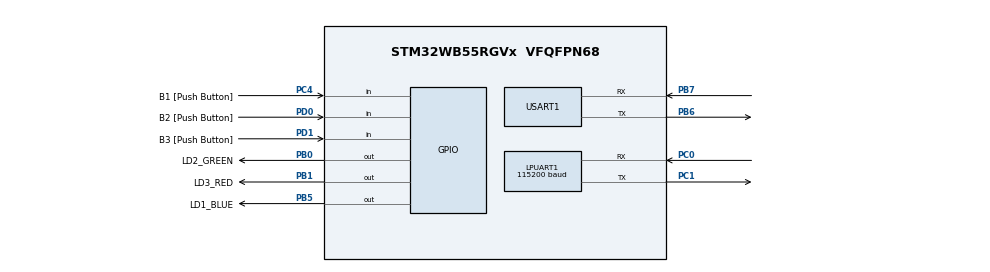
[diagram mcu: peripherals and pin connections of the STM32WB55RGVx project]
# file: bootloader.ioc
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Dma.MEMTOMEM.1.Direction=DMA_MEMORY_TO_MEMORY
Dma.MEMTOMEM.1.EventEnable=DISABLE
Dma.MEMTOMEM.1.Instance=DMA1_Channel2
Dma.MEMTOMEM.1.MemDataAlignment=DMA_MDATAALIGN_BYTE
Dma.MEMTOMEM.1.MemInc=DMA_MINC_ENABLE
Dma.MEMTOMEM.1.Mode=DMA_NORMAL
Dma.MEMTOMEM.1.PeriphDataAlignment=DMA_PDATAALIGN_BYTE
Dma.MEMTOMEM.1.PeriphInc=DMA_PINC_ENABLE
Dma.MEMTOMEM.1.Polarity=HAL_DMAMUX_REQ_GEN_RISING
Dma.MEMTOMEM.1.Priority=DMA_PRIORITY_HIGH
Dma.MEMTOMEM.1.RequestNumber=1
Dma.MEMTOMEM.1.SignalID=NONE
Dma.MEMTOMEM.1.SyncEnable=DISABLE
Dma.MEMTOMEM.1.SyncPolarity=HAL_DMAMUX_SYNC_NO_EVENT
Dma.MEMTOMEM.1.SyncRequestNumber=1
Dma.MEMTOMEM.1.SyncSignalID=NONE
Dma.Request0=USART1_RX
Dma.Request1=MEMTOMEM
Dma.USART1_RX.0.Direction=DMA_PERIPH_TO_MEMORY
Dma.USART1_RX.0.EventEnable=DISABLE
Dma.USART1_RX.0.Instance=DMA1_Channel1
Dma.USART1_RX.0.MemDataAlignment=DMA_MDATAALIGN_BYTE
Dma.USART1_RX.0.MemInc=DMA_MINC_ENABLE
Dma.USART1_RX.0.Mode=DMA_CIRCULAR
Dma.USART1_RX.0.PeriphDataAlignment=DMA_PDATAALIGN_BYTE
Dma.USART1_RX.0.PeriphInc=DMA_PINC_DISABLE
Dma.USART1_RX.0.Polarity=HAL_DMAMUX_REQ_GEN_RISING
Dma.USART1_RX.0.Priority=DMA_PRIORITY_LOW
Dma.USART1_RX.0.RequestNumber=1
Dma.USART1_RX.0.SignalID=NONE
Dma.USART1_RX.0.SyncEnable=DISABLE
Dma.USART1_RX.0.SyncPolarity=HAL_DMAMUX_SYNC_NO_EVENT
Dma.USART1_RX.0.SyncRequestNumber=1
Dma.USART1_RX.0.SyncSignalID=NONE
LPUART1.BaudRate=115200
LPUART1.FIFOMode=UART_FIFOMODE_DISABLE
LPUART1.RXFIFOThreshold=UART_RXFIFO_THRESHOLD_8_8
LPUART1.TXFIFOThreshold=UART_TXFIFO_THRESHOLD_8_8
Mcu.Family=STM32WB
Mcu.Name=STM32WB55RGVx
Mcu.Package=VFQFPN68
NVIC.DMA1_Channel1_IRQn=true\:0\:0\:false\:false\:true\:false\:true\:true
NVIC.DMA1_Channel2_IRQn=true\:0\:0\:false\:false\:true\:true\:true\:true
NVIC.LPUART1_IRQn=true\:0\:0\:false\:false\:true\:true\:true\:true
NVIC.PriorityGroup=NVIC_PRIORITYGROUP_4
NVIC.USART1_IRQn=true\:0\:0\:false\:false\:true\:true\:true\:true
OSC_IN.Mode=HSE-External-Oscillator
OSC_IN.Signal=RCC_OSC_IN
OSC_OUT.Mode=HSE-External-Oscillator
OSC_OUT.Signal=RCC_OSC_OUT
PA13.GPIO_Label=JTMS
PA13.Mode=Trace_Asynchronous_SW
PA13.Signal=SYS_JTMS-SWDIO
PA14.GPIO_Label=JTCK
PA14.Mode=Trace_Asynchronous_SW
PA14.Signal=SYS_JTCK-SWCLK
PB0.GPIO_Label=LD2_GREEN
PB0.Signal=GPIO_Output
PB1.GPIO_Label=LD3_RED
PB1.Signal=GPIO_Output
PB3.GPIO_Label=JTDO
PB3.Mode=Trace_Asynchronous_SW
PB3.Signal=SYS_JTDO-SWO
PB5.GPIO_Label=LD1_BLUE
PB5.Signal=GPIO_Output
PB6.Mode=Asynchronous
PB6.Signal=USART1_TX
PB7.Mode=Asynchronous
PB7.Signal=USART1_RX
PC0.Mode=Asynchronous
PC0.Signal=LPUART1_RX
PC1.Mode=Asynchronous
PC1.Signal=LPUART1_TX
PC13.Mode=SYS_WakeUp1
PC13.Signal=SYS_WKUP2
PC14-OSC32_IN.Mode=LSE-External-Oscillator
PC14-OSC32_IN.Signal=RCC_OSC32_IN
PC15-OSC32_OUT.Mode=LSE-External-Oscillator
PC15-OSC32_OUT.Signal=RCC_OSC32_OUT
PC4.GPIO_Label=B1 [Push Button]
PC4.GPIO_PuPd=GPIO_PULLUP
PC4.Signal=GPIO_Input
PD0.GPIO_Label=B2 [Push Button]
PD0.Signal=GPIO_Input
PD1.GPIO_Label=B3 [Push Button]
PD1.GPIO_PuPd=GPIO_PULLUP
PD1.Signal=GPIO_Input
ProjectManager.HeapSize=0x200
ProjectManager.StackSize=0x400
ProjectManager.TargetToolchain=STM32CubeIDE
RCC.ADCFreq_Value=48000000
RCC.AHB2CLKDivider=RCC_SYSCLK_DIV2
RCC.AHBFreq_Value=64000000
RCC.APB1Freq_Value=64000000
RCC.APB1TimFreq_Value=64000000
RCC.APB2Freq_Value=64000000
RCC.APB2TimFreq_Value=64000000
RCC.APB3Freq_Value=16000000
RCC.CortexFreq_Value=64000000
RCC.HCLKFreq_Value=64000000
RCC.HSE_VALUE=32000000
RCC.HSI48_VALUE=48000000
RCC.HSI_VALUE=16000000
RCC.PLLN=32
RCC.PLLSAI1N=24
RCC.SMPSCLockSelectionVirtual=RCC_SMPSCLKSOURCE_HSI
RCC.SMPSCLockSelectionVirtualVirtual=RCC_SMPSCLKSOURCE_HSI
RCC.SMPSDivider=1
RCC.SYSCLKFreq_VALUE=64000000
RCC.SYSCLKSource=RCC_SYSCLKSOURCE_PLLCLK
RCC.USBFreq_Value=48000000
RCC.VCOOutputFreq_Value=128000000
USART1.FIFOMode=FIFOMODE_DISABLE
USART1.RXFIFOThreshold=RXFIFO_THRESHOLD_FULL
USART1.TXFIFOThreshold=TXFIFO_THRESHOLD_EMPTY
USART1.VirtualMode-Asynchronous=VM_ASYNC
VP_MEMORYMAP_VS_MEMORYMAP.Mode=CurAppReg
board=NUCLEO-WB55RG

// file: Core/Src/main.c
/* USER CODE BEGIN Header */
/**
  ******************************************************************************
  * @file           : main.c
  * @brief          : Main program body
  ******************************************************************************
  * @attention
  *
  * Copyright (c) 2024 STMicroelectronics.
  * All rights reserved.
  *
  * This software is licensed under terms that can be found in the LICENSE file
  * in the root directory of this software component.
  * If no LICENSE file comes with this software, it is provided AS-IS.
  *
  ******************************************************************************
  */
/* USER CODE END Header */
#include "main.h"
#include "dma.h"
#include "usart.h"
#include "memorymap.h"
#include "gpio.h"

/* USER CODE BEGIN Includes */
#include "stdio.h"
#include "etx_ota_update.h"
#include <stdbool.h>
/* USER CODE END Includes */

/* USER CODE BEGIN PD */
extern DMA_HandleTypeDef hdma_usart1_rx;
extern DMA_HandleTypeDef hdma_memtomem_dma1_channel2;
/* USER CODE END PD */

/* USER CODE BEGIN PV */
extern uint8_t Rx_Buffer[ETX_OTA_CHUNK_MAX_SIZE];
extern uint8_t temp_Buffer[2*ETX_OTA_CHUNK_MAX_SIZE];
/* USER CODE END PV */

void SystemClock_Config(void);
void PeriphCommonClock_Config(void);
/* USER CODE BEGIN PFP */
static void go_to_application(void);

/* USER CODE END PFP */

/* USER CODE BEGIN 0 */
#ifdef __GNUC__
int __io_putchar(int ch)
#else
int fputc(int ch,FILE *f)
#endif
{
	HAL_UART_Transmit(&hlpuart1,(uint8_t*)&ch,1,100);
	return ch;
}

static void go_to_application(void){

	printf("Starting the application ...\n");

	void (*app_reset_handler)(void) = (void*) (*(volatile uint32_t*)(0x08040000 + 4));

	HAL_GPIO_WritePin(LD2_GREEN_GPIO_Port,LD2_GREEN_Pin,GPIO_PIN_RESET);

	app_reset_handler(); //call the app reset handler
}

bool is_flash_empty(uint32_t start_addr,uint32_t end_addr)
{
	uint32_t  Address = start_addr,
			   data32 = 0xFFFF;
	while (Address < end_addr)
	{
	    data32 = *(__IO uint32_t *)Address;

	    if (data32 != 0xFFFF)
	    {
	      return false;
	    }
	    Address += 4;
	}
	return true;
}
/* USER CODE END 0 */

int main(void)
{
  /* USER CODE BEGIN 1 */
  GPIO_PinState OTA_Pin_state = GPIO_PIN_SET;
  GPIO_PinState launch_App_Pin_state = GPIO_PIN_SET;
  _Bool Is_flash_empty = true;
  /* USER CODE END 1 */

  /* MCU Configuration--------------------------------------------------------*/

  /* Reset of all peripherals, Initializes the Flash interface and the Systick. */
  HAL_Init();

  /* Configure the system clock */
  SystemClock_Config();

/* Configure the peripherals common clocks */
  PeriphCommonClock_Config();

  /* Initialize all configured peripherals */
  MX_GPIO_Init();
  MX_DMA_Init();
  MX_USART1_UART_Init();
  MX_LPUART1_UART_Init();
  /* USER CODE BEGIN 2 */
  printf("Bootloader start success\n");

  if( (Is_flash_empty = is_flash_empty(FLASH_USER_START_ADDR,FLASH_USER_END_ADDR) ) == false)
  {
	  printf("App found on memmory.\n"
			  "Please, press SW1 to start an OTA update or SW3 to run the app...\n");
  }
  else
  {
	  printf("App not found. Please, press SW1 to start an OTA update...\n");
  }

  do
    {
	  OTA_Pin_state = HAL_GPIO_ReadPin(B1_GPIO_Port,B1_Pin);
	  launch_App_Pin_state = HAL_GPIO_ReadPin(B3_GPIO_Port,B3_Pin);
      if(OTA_Pin_state == GPIO_PIN_RESET  || launch_App_Pin_state == GPIO_PIN_RESET )
      {
        break;
      }
   }while(1);

  if(OTA_Pin_state == GPIO_PIN_RESET)
  {
	  printf("Starting Firmware Download...\r\n");
	  if( etx_ota_download_and_flash() != ETX_OTA_EX_OK )
	  {
		printf("OTA Update error. Halting...\r\n");
		while(1);
	  }
	  else
	  {
		printf("Firmware update success!\r\n");
		go_to_application();
	  }
  }
  else if(launch_App_Pin_state == GPIO_PIN_RESET && Is_flash_empty == false)
  {
	  go_to_application();
  }
  /* USER CODE END 2 */

  /* Infinite loop */
  while (1)
  {

  }
}

void SystemClock_Config(void)
{
  RCC_OscInitTypeDef RCC_OscInitStruct = {0};
  RCC_ClkInitTypeDef RCC_ClkInitStruct = {0};

  /** Configure the main internal regulator output voltage
  */
  __HAL_PWR_VOLTAGESCALING_CONFIG(PWR_REGULATOR_VOLTAGE_SCALE1);

  /** Initializes the RCC Oscillators according to the specified parameters
  * in the RCC_OscInitTypeDef structure.
  */
  RCC_OscInitStruct.OscillatorType = RCC_OSCILLATORTYPE_HSI|RCC_OSCILLATORTYPE_HSE
                              |RCC_OSCILLATORTYPE_MSI;
  RCC_OscInitStruct.HSEState = RCC_HSE_ON;
  RCC_OscInitStruct.HSIState = RCC_HSI_ON;
  RCC_OscInitStruct.MSIState = RCC_MSI_ON;
  RCC_OscInitStruct.HSICalibrationValue = RCC_HSICALIBRATION_DEFAULT;
  RCC_OscInitStruct.MSICalibrationValue = RCC_MSICALIBRATION_DEFAULT;
  RCC_OscInitStruct.MSIClockRange = RCC_MSIRANGE_6;
  RCC_OscInitStruct.PLL.PLLState = RCC_PLL_ON;
  RCC_OscInitStruct.PLL.PLLSource = RCC_PLLSOURCE_MSI;
  RCC_OscInitStruct.PLL.PLLM = RCC_PLLM_DIV1;
  RCC_OscInitStruct.PLL.PLLN = 32;
  RCC_OscInitStruct.PLL.PLLP = RCC_PLLP_DIV2;
  RCC_OscInitStruct.PLL.PLLR = RCC_PLLR_DIV2;
  RCC_OscInitStruct.PLL.PLLQ = RCC_PLLQ_DIV2;
  if (HAL_RCC_OscConfig(&RCC_OscInitStruct) != HAL_OK)
  {
    Error_Handler();
  }

  /** Configure the SYSCLKSource, HCLK, PCLK1 and PCLK2 clocks dividers
  */
  RCC_ClkInitStruct.ClockType = RCC_CLOCKTYPE_HCLK4|RCC_CLOCKTYPE_HCLK2
                              |RCC_CLOCKTYPE_HCLK|RCC_CLOCKTYPE_SYSCLK
                              |RCC_CLOCKTYPE_PCLK1|RCC_CLOCKTYPE_PCLK2;
  RCC_ClkInitStruct.SYSCLKSource = RCC_SYSCLKSOURCE_PLLCLK;
  RCC_ClkInitStruct.AHBCLKDivider = RCC_SYSCLK_DIV1;
  RCC_ClkInitStruct.APB1CLKDivider = RCC_HCLK_DIV1;
  RCC_ClkInitStruct.APB2CLKDivider = RCC_HCLK_DIV1;
  RCC_ClkInitStruct.AHBCLK2Divider = RCC_SYSCLK_DIV2;
  RCC_ClkInitStruct.AHBCLK4Divider = RCC_SYSCLK_DIV1;

  if (HAL_RCC_ClockConfig(&RCC_ClkInitStruct, FLASH_LATENCY_3) != HAL_OK)
  {
    Error_Handler();
  }
}

void PeriphCommonClock_Config(void)
{
  RCC_PeriphCLKInitTypeDef PeriphClkInitStruct = {0};

  /** Initializes the peripherals clock
  */
  PeriphClkInitStruct.PeriphClockSelection = RCC_PERIPHCLK_SMPS;
  PeriphClkInitStruct.SmpsClockSelection = RCC_SMPSCLKSOURCE_HSI;
  PeriphClkInitStruct.SmpsDivSelection = RCC_SMPSCLKDIV_RANGE0;

  if (HAL_RCCEx_PeriphCLKConfig(&PeriphClkInitStruct) != HAL_OK)
  {
    Error_Handler();
  }
}

void Error_Handler(void)
{
  __disable_irq();
  while (1)
  {
  }
}
